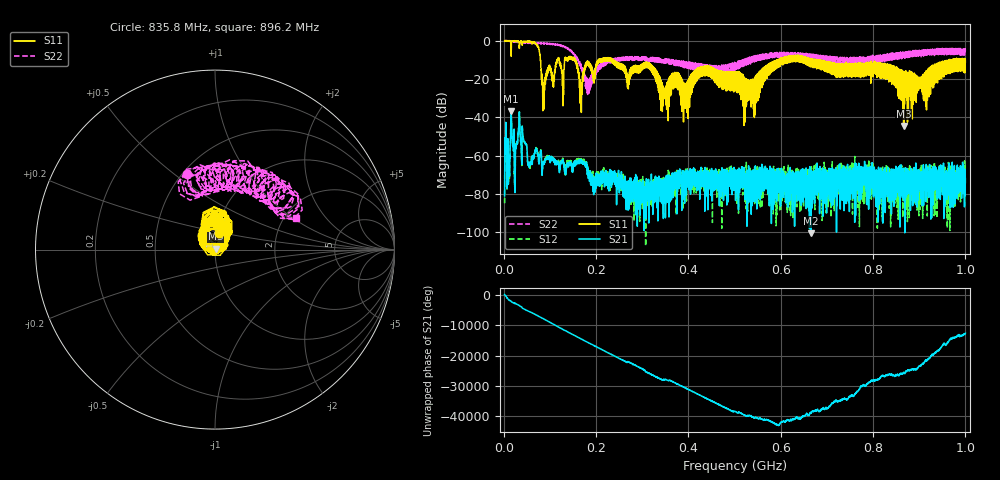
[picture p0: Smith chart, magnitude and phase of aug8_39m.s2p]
!Keysight Technologies N9923A: A.12.45
!Date: Friday, 08 August 2025 17:59:42
!Timezone: (UTC+08:00) Kuala Lumpur, Singapore
!Model: N9923A
!Serial: MY61181427
!GPS Latitude:
!GPS Longitude:
!GPS TimeStamp: 0001-01-01 00:00:00Z
!GPS Seconds Since Last Read: 0
!CHECKSUM:0125385526
!Correction: S11(ON U)S21(ON U)S12(ON U)S22(ON U)
!S2P File: Measurements:S11,S21,S12,S22:
# Hz S DB R 50
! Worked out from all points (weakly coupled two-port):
!   4001 points, 2 MHz to 1 GHz, reference 50 ohm
!   highest |S21| = -36.84 dB at 16.22 MHz (marker M1); lowest = -100.5 dB at 665.7 MHz (marker M2)
!   lowest |S11| = -44.5 dB at 866.3 MHz (marker M3), VSWR 1.01, Z = 50.3 + j0.504 ohm
!   |S11| at or under -10 dB: 155.2 MHz to 205.8 MHz (50.62 MHz wide, 28 % of centre); 237.5 MHz to 592.8 MHz (355.3 MHz wide, 85.6 % of centre); 684.2 MHz to 964 MHz (279.9 MHz wide, 34 % of centre) (the widest 3 of 107)
!   |S22| runs from -28.1 to 0.1 dB; largest |S21 - S12| = 0.001
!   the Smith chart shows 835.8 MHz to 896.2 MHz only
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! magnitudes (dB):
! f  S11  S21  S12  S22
! 2 MHz  -0.1  -81.1  -84.9  0.0
! 16.22 MHz  -8.1  -36.8  -36.8  -0.4
! 25.2 MHz  -0.1  -60.0  -60.8  -0.5
! 36.93 MHz  -0.5  -53.0  -52.7  -0.7
! 56.64 MHz  -0.7  -64.6  -64.7  -1.3
! 70.86 MHz  -2.0  -56.8  -56.3  -1.2
! 86.83 MHz  -35.9  -64.3  -63.3  -1.7
! 145.2 MHz  -8.4  -64.6  -63.7  -5.6
! 168.4 MHz  -35.5  -62.8  -62.0  -14.0
! 183.6 MHz  -11.3  -70.1  -69.4  -28.1
! 222.6 MHz  -9.0  -71.9  -69.1  -10.9
! 334.8 MHz  -18.9  -72.4  -86.0  -11.3
! 348.3 MHz  -30.2  -84.8  -85.1  -11.8
! 430.1 MHz  -13.5  -69.4  -71.8  -13.3
! 501 MHz  -16.1  -72.7  -74.0  -15.7
! 539.9 MHz  -23.2  -75.3  -75.9  -10.7
! 604.5 MHz  -8.9  -68.2  -67.1  -6.3
! 665.7 MHz  -9.8  -100.5  -70.4  -7.8
! 667.4 MHz  -10.0  -68.2  -75.6  -8.3
! 833.8 MHz  -19.0  -81.5  -77.6  -7.9
! 866.3 MHz  -44.5  -75.0  -80.8  -6.2
! 1 GHz  -11.3  -72.2  -71.6  -6.1
